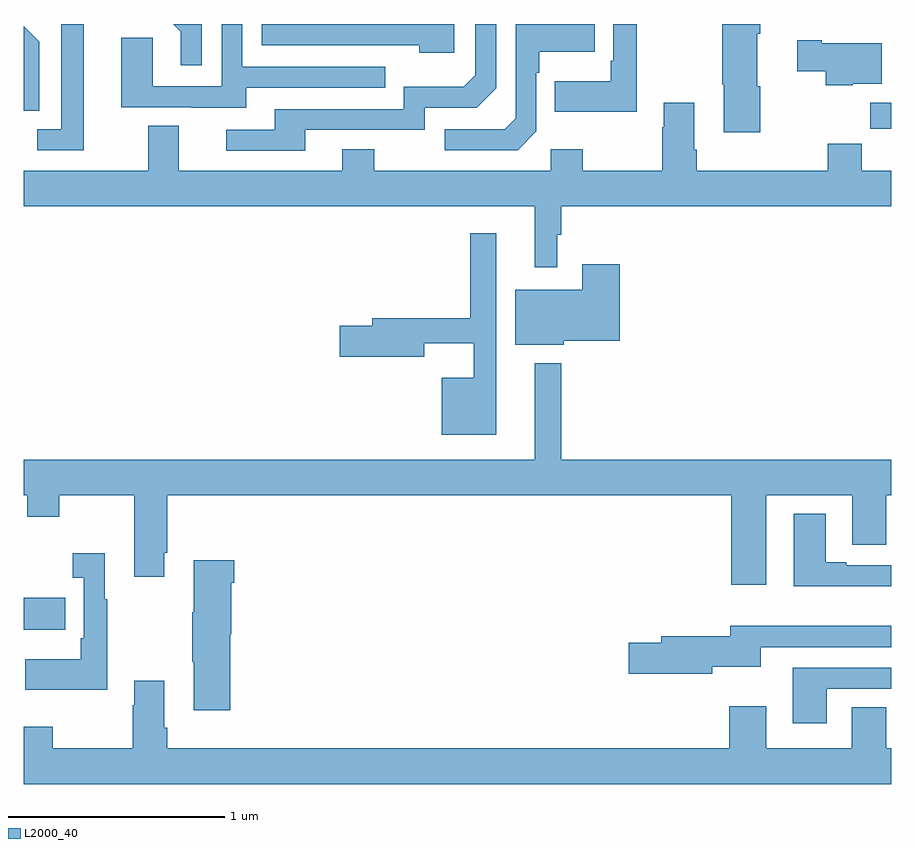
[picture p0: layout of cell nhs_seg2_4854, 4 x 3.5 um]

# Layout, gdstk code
import gdstk
lib = gdstk.Library(unit=1e-6, precision=1e-09)
def R(c, l, rs):  # rectangles x0, y0, x1, y1
    for r in rs: c.add(gdstk.rectangle(r[:2], r[2:], *l))
def P(c, l, *ps):  # polygons
    for p in ps: c.add(gdstk.Polygon(p, *l))
L2000_40 = (2000, 40)

nhs_seg2_4854 = lib.new_cell('nhs_seg2_4854')
R(nhs_seg2_4854, L2000_40, [(375,655.007,375.191,655.155), (378.904,657.318,379,657.436)])
P(nhs_seg2_4854, L2000_40, [(378.395,657.512),(378.382,657.512),(378.382,657.754),(378.395,657.754),(378.395,657.8),(378.22,657.8),(378.22,657.523),(378.227,657.523),(378.227,657.3),(378.395,657.3)],
  [(376.027,657.507),(376.667,657.507),(376.667,657.603),(376.008,657.603),(376.008,657.8),(375.912,657.8),(375.912,657.513),(375.594,657.513),(375.594,657.737),(375.449,657.737),(375.449,657.417),(375.773,657.417),(375.773,657.413),(376.027,657.413)],
  [(377.364,657.306),(377.364,657.575),(377.377,657.575),(377.377,657.671),(377.633,657.671),(377.633,657.8),(377.268,657.8),(377.268,657.366),(377.217,657.315),(376.941,657.315),(376.941,657.219),(377.277,657.219)],
  [(376.984,657.798),(376.207,657.798),(376.207,657.8),(376.098,657.8),(376.098,657.702),(376.823,657.702),(376.823,657.668),(376.984,657.668)],
  [(377.827,657.8),(377.718,657.8),(377.718,657.631),(377.706,657.631),(377.706,657.535),(377.449,657.535),(377.449,657.395),(377.827,657.395)],
  [(376.297,657.312),(376.848,657.312),(376.848,657.414),(377.088,657.414),(377.178,657.504),(377.178,657.8),(377.082,657.8),(377.082,657.564),(377.029,657.511),(376.752,657.511),(376.752,657.408),(376.157,657.408),(376.157,657.312),(375.933,657.312),(375.933,657.216),(376.297,657.216)],
  [(375.822,657.8),(375.69,657.8),(375.725,657.765),(375.725,657.609),(375.822,657.609)],
  [(375.277,657.8),(375.173,657.8),(375.173,657.315),(375.063,657.315),(375.063,657.219),(375.277,657.219)],
  [(375.072,657.718),(375,657.79),(375,657.4),(375.072,657.4)],
  [(378.822,657.524),(378.955,657.524),(378.955,657.712),(378.679,657.712),(378.679,657.725),(378.567,657.725),(378.567,657.583),(378.697,657.583),(378.697,657.518),(378.822,657.518)],
  [(377.461,656.828),(377.479,656.828),(377.479,656.96),(379,656.96),(379,657.124),(378.863,657.124),(378.863,657.248),(378.707,657.248),(378.707,657.124),(378.104,657.124),(378.104,657.22),(378.091,657.22),(378.091,657.436),(377.951,657.436),(377.951,657.323),(377.944,657.323),(377.944,657.124),(377.577,657.124),(377.577,657.223),(377.43,657.223),(377.43,657.124),(376.617,657.124),(376.617,657.223),(376.469,657.223),(376.469,657.124),(375.715,657.124),(375.715,657.332),(375.575,657.332),(375.575,657.124),(375,657.124),(375,656.96),(377.357,656.96),(377.357,656.679),(377.461,656.679)],
  [(377.179,656.836),(377.058,656.836),(377.058,656.444),(376.607,656.444),(376.607,656.408),(376.458,656.408),(376.458,656.266),(376.846,656.266),(376.846,656.327),(377.075,656.327),(377.075,656.17),(376.928,656.17),(376.928,655.907),(377.179,655.907)],
  [(377.49,656.339),(377.747,656.339),(377.747,656.692),(377.576,656.692),(377.576,656.575),(377.267,656.575),(377.267,656.321),(377.49,656.321)],
  [(377.479,656.236),(377.357,656.236),(377.357,655.792),(375,655.792),(375,655.628),(375.017,655.628),(375.017,655.529),(375.165,655.529),(375.165,655.628),(375.509,655.628),(375.509,655.251),(375.649,655.251),(375.649,655.363),(375.662,655.363),(375.662,655.628),(378.263,655.628),(378.263,655.215),(378.424,655.215),(378.424,655.628),(378.821,655.628),(378.821,655.398),(378.976,655.398),(378.976,655.628),(379,655.628),(379,655.792),(377.479,655.792)],
  [(379,655.305),(378.793,655.305),(378.793,655.318),(378.697,655.318),(378.697,655.543),(378.551,655.543),(378.551,655.208),(379,655.208)],
  [(375.385,655.147),(375.373,655.147),(375.373,655.36),(375.225,655.36),(375.225,655.247),(375.276,655.247),(375.276,654.967),(375.264,654.967),(375.264,654.871),(375.007,654.871),(375.007,654.731),(375.385,654.731)],
  [(375.953,654.987),(375.958,654.987),(375.958,655.223),(375.971,655.223),(375.971,655.327),(375.785,655.327),(375.785,655.087),(375.778,655.087),(375.778,654.859),(375.785,654.859),(375.785,654.636),(375.953,654.636)],
  [(378.174,654.836),(378.397,654.836),(378.397,654.927),(379,654.927),(379,655.025),(378.257,655.025),(378.257,654.977),(377.939,654.977),(377.939,654.947),(377.79,654.947),(377.79,654.805),(378.174,654.805)],
  [(378.703,654.735),(379,654.735),(379,654.831),(378.545,654.831),(378.545,654.576),(378.703,654.576)],
  [(379,654.46),(378.976,654.46),(378.976,654.65),(378.818,654.65),(378.818,654.46),(378.424,654.46),(378.424,654.655),(378.254,654.655),(378.254,654.46),(375.662,654.46),(375.662,654.556),(375.649,654.556),(375.649,654.772),(375.509,654.772),(375.509,654.659),(375.502,654.659),(375.502,654.46),(375.135,654.46),(375.135,654.559),(375,654.559),(375,654.296),(379,654.296)])

lib.write_gds('nhs_seg2_4854.gds')
